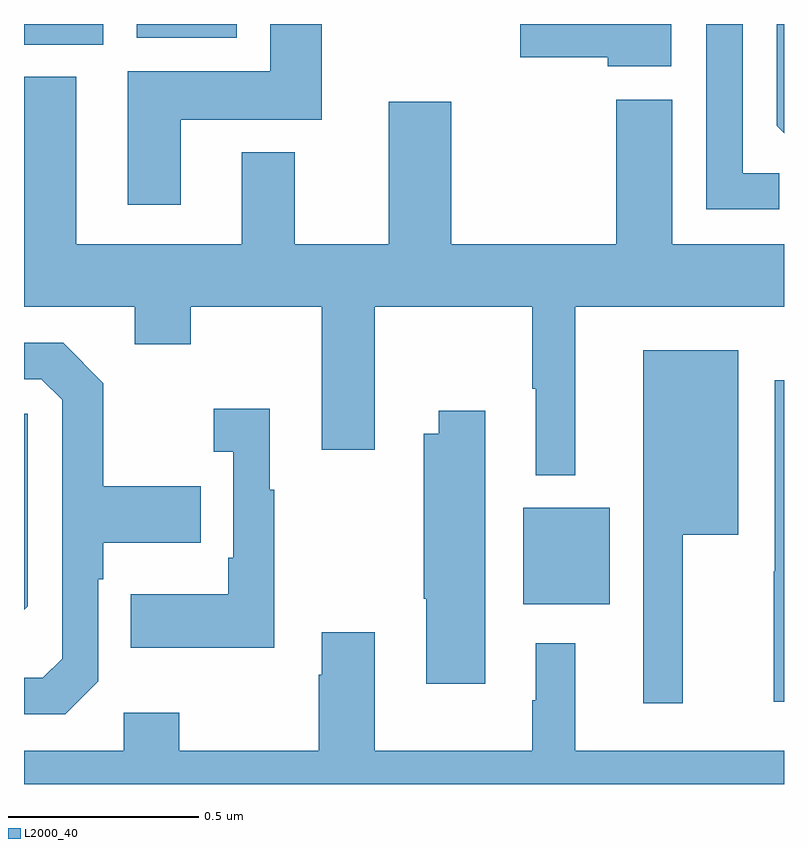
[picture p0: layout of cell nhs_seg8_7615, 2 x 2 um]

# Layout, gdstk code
import gdstk
lib = gdstk.Library(unit=1e-6, precision=1e-09)
def R(c, l, rs):  # rectangles x0, y0, x1, y1
    for r in rs: c.add(gdstk.rectangle(r[:2], r[2:], *l))
def P(c, l, *ps):  # polygons
    for p in ps: c.add(gdstk.Polygon(p, *l))
L2000_40 = (2000, 40)

nhs_seg8_7615 = lib.new_cell('nhs_seg8_7615')
R(nhs_seg8_7615, L2000_40, [(213.314,1126.373,213.541,1126.627), (212,1127.846,212.209,1127.9), (212.297,1127.864,212.56,1127.9)])
P(nhs_seg8_7615, L2000_40, [(214,1127.9),(213.981,1127.9),(213.981,1127.632),(214,1127.613)],
  [(212.413,1127.648),(212.783,1127.648),(212.783,1127.9),(212.648,1127.9),(212.648,1127.776),(212.273,1127.776),(212.273,1127.424),(212.413,1127.424)],
  [(213.703,1127.9),(213.306,1127.9),(213.306,1127.813),(213.536,1127.813),(213.536,1127.789),(213.703,1127.789)],
  [(213.987,1127.507),(213.891,1127.507),(213.891,1127.9),(213.795,1127.9),(213.795,1127.412),(213.987,1127.412)],
  [(213.559,1127.701),(213.559,1127.32),(213.124,1127.32),(213.124,1127.695),(212.96,1127.695),(212.96,1127.32),(212.713,1127.32),(212.713,1127.563),(212.573,1127.563),(212.573,1127.32),(212.137,1127.32),(212.137,1127.761),(212,1127.761),(212,1127.156),(212.291,1127.156),(212.291,1127.057),(212.439,1127.057),(212.439,1127.156),(212.783,1127.156),(212.783,1126.779),(212.923,1126.779),(212.923,1127.156),(213.337,1127.156),(213.337,1126.94),(213.347,1126.94),(213.347,1126.712),(213.451,1126.712),(213.451,1127.156),(214,1127.156),(214,1127.32),(213.706,1127.32),(213.706,1127.701)],
  [(212.196,1126.17),(212.196,1126.439),(212.209,1126.439),(212.209,1126.535),(212.465,1126.535),(212.465,1126.683),(212.209,1126.683),(212.209,1126.955),(212.103,1127.061),(212,1127.061),(212,1126.965),(212.046,1126.965),(212.1,1126.911),(212.1,1126.23),(212.049,1126.179),(212,1126.179),(212,1126.083),(212.109,1126.083)],
  [(213.733,1126.556),(213.88,1126.556),(213.88,1127.041),(213.629,1127.041),(213.629,1126.113),(213.733,1126.113)],
  [(214,1126.963),(213.975,1126.963),(213.975,1126.46),(213.973,1126.46),(213.973,1126.116),(214,1126.116)],
  [(212.659,1126.675),(212.647,1126.675),(212.647,1126.888),(212.499,1126.888),(212.499,1126.775),(212.55,1126.775),(212.55,1126.495),(212.538,1126.495),(212.538,1126.399),(212.281,1126.399),(212.281,1126.259),(212.659,1126.259)],
  [(213.214,1126.882),(213.092,1126.882),(213.092,1126.822),(213.052,1126.822),(213.052,1126.387),(213.059,1126.387),(213.059,1126.164),(213.214,1126.164)],
  [(212.01,1126.368),(212.01,1126.875),(212,1126.875),(212,1126.358)],
  [(214,1125.988),(213.451,1125.988),(213.451,1126.27),(213.347,1126.27),(213.347,1126.121),(213.337,1126.121),(213.337,1125.988),(212.923,1125.988),(212.923,1126.3),(212.783,1126.3),(212.783,1126.187),(212.776,1126.187),(212.776,1125.988),(212.409,1125.988),(212.409,1126.087),(212.262,1126.087),(212.262,1125.988),(212,1125.988),(212,1125.9),(214,1125.9)])

lib.write_gds('nhs_seg8_7615.gds')
